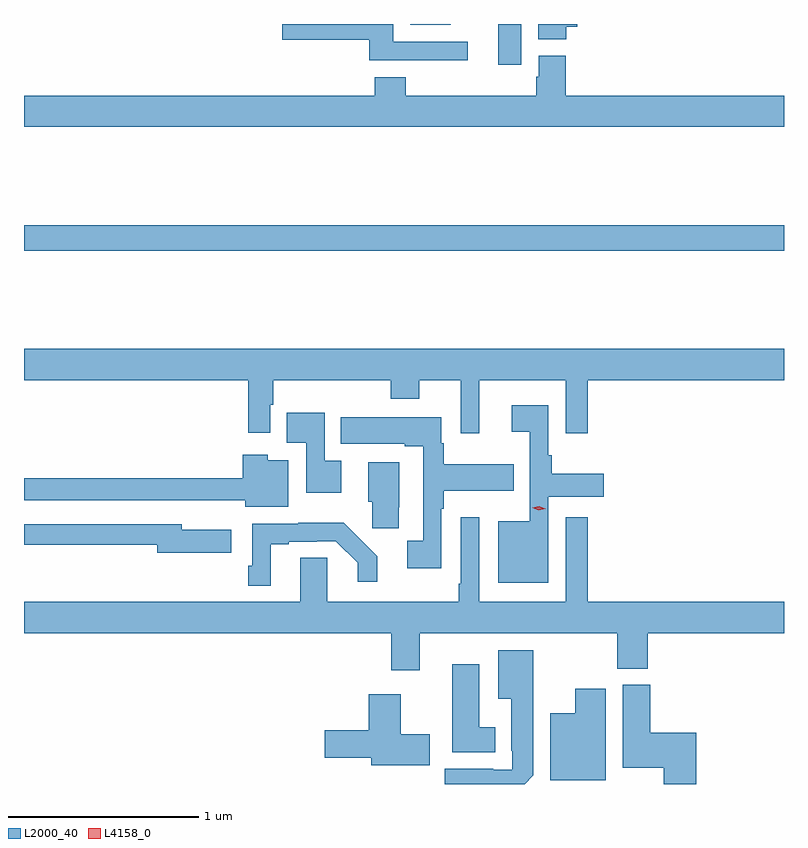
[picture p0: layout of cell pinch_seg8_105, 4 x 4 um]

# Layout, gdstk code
import gdstk
lib = gdstk.Library(unit=1e-6, precision=1e-09)
def R(c, l, rs):  # rectangles x0, y0, x1, y1
    for r in rs: c.add(gdstk.rectangle(r[:2], r[2:], *l))
def P(c, l, *ps):  # polygons
    for p in ps: c.add(gdstk.Polygon(p, *l))
L2000_40 = (2000, 40)
L4158_0 = (4158, 0)

pinch_seg8_105 = lib.new_cell('pinch_seg8_105')
R(pinch_seg8_105, L2000_40, [(1034.216,1115.848,1038.216,1115.984), (1036.712,1116.828,1036.834,1117.042), (1036.25,1117.037,1036.462,1117.042)])
P(pinch_seg8_105, L2000_40, [(1037.069,1117.028),(1037.128,1117.028),(1037.128,1117.042),(1036.922,1117.042),(1036.922,1116.961),(1037.069,1116.961)],
  [(1036.552,1116.948),(1036.159,1116.948),(1036.159,1117.042),(1035.576,1117.042),(1035.576,1116.958),(1036.034,1116.958),(1036.034,1116.851),(1036.552,1116.851)],
  [(1038.216,1116.664),(1037.066,1116.664),(1037.066,1116.876),(1036.925,1116.876),(1036.925,1116.765),(1036.913,1116.765),(1036.913,1116.664),(1036.226,1116.664),(1036.226,1116.763),(1036.061,1116.763),(1036.061,1116.664),(1034.216,1116.664),(1034.216,1116.5),(1038.216,1116.5)],
  [(1036.612,1115.168),(1037.067,1115.168),(1037.067,1114.887),(1037.183,1114.887),(1037.183,1115.168),(1038.216,1115.168),(1038.216,1115.332),(1034.216,1115.332),(1034.216,1115.168),(1035.397,1115.168),(1035.397,1114.89),(1035.513,1114.89),(1035.513,1115.037),(1035.529,1115.037),(1035.529,1115.168),(1036.145,1115.168),(1036.145,1115.069),(1036.297,1115.069),(1036.297,1115.168),(1036.515,1115.168),(1036.515,1114.887),(1036.612,1114.887)],
  [(1036.975,1114.553),(1037.266,1114.553),(1037.266,1114.675),(1036.994,1114.675),(1036.994,1114.771),(1036.974,1114.771),(1036.974,1115.035),(1036.782,1115.035),(1036.782,1114.895),(1036.878,1114.895),(1036.878,1114.426),(1036.712,1114.426),(1036.712,1114.1),(1036.975,1114.1)],
  [(1035.886,1114.744),(1035.798,1114.744),(1035.798,1114.995),(1035.598,1114.995),(1035.598,1114.838),(1035.702,1114.838),(1035.702,1114.574),(1035.886,1114.574)],
  [(1036.413,1114.49),(1036.426,1114.49),(1036.426,1114.586),(1036.793,1114.586),(1036.793,1114.726),(1036.426,1114.726),(1036.426,1114.836),(1036.413,1114.836),(1036.413,1114.972),(1035.883,1114.972),(1035.883,1114.832),(1036.22,1114.832),(1036.22,1114.82),(1036.317,1114.82),(1036.317,1114.321),(1036.233,1114.321),(1036.233,1114.178),(1036.413,1114.178)],
  [(1035.607,1114.747),(1035.498,1114.747),(1035.498,1114.774),(1035.368,1114.774),(1035.368,1114.652),(1034.216,1114.652),(1034.216,1114.536),(1035.142,1114.536),(1035.142,1114.535),(1035.38,1114.535),(1035.38,1114.502),(1035.607,1114.502)],
  [(1036.188,1114.498),(1036.192,1114.498),(1036.192,1114.735),(1036.028,1114.735),(1036.028,1114.527),(1036.048,1114.527),(1036.048,1114.389),(1036.188,1114.389)],
  [(1036.148,1113.642),(1036.3,1113.642),(1036.3,1113.836),(1037.338,1113.836),(1037.338,1113.649),(1037.498,1113.649),(1037.498,1113.836),(1038.216,1113.836),(1038.216,1114),(1037.183,1114),(1037.183,1114.447),(1037.067,1114.447),(1037.067,1114),(1036.611,1114),(1036.611,1114.447),(1036.515,1114.447),(1036.515,1114.096),(1036.503,1114.096),(1036.503,1114),(1035.811,1114),(1035.811,1114.232),(1035.671,1114.232),(1035.671,1114),(1034.216,1114),(1034.216,1113.836),(1036.148,1113.836)],
  [(1035.514,1114.305),(1035.61,1114.305),(1035.61,1114.317),(1035.758,1114.317),(1035.758,1114.32),(1035.858,1114.32),(1035.972,1114.206),(1035.972,1114.107),(1036.075,1114.107),(1036.075,1114.241),(1035.899,1114.417),(1035.66,1114.417),(1035.66,1114.413),(1035.417,1114.413),(1035.417,1114.192),(1035.397,1114.192),(1035.397,1114.085),(1035.514,1114.085)],
  [(1035.307,1114.381),(1035.046,1114.381),(1035.046,1114.41),(1034.216,1114.41),(1034.216,1114.302),(1034.918,1114.302),(1034.918,1114.259),(1035.307,1114.259)],
  [(1036.897,1113.087),(1036.897,1113.745),(1036.712,1113.745),(1036.712,1113.491),(1036.781,1113.491),(1036.781,1113.217),(1036.785,1113.217),(1036.785,1113.117),(1036.685,1113.117),(1036.685,1113.121),(1036.43,1113.121),(1036.43,1113.042),(1036.852,1113.042)],
  [(1036.696,1113.34),(1036.612,1113.34),(1036.612,1113.673),(1036.469,1113.673),(1036.469,1113.209),(1036.696,1113.209)],
  [(1037.753,1113.313),(1037.513,1113.313),(1037.513,1113.564),(1037.366,1113.564),(1037.366,1113.128),(1037.582,1113.128),(1037.582,1113.042),(1037.753,1113.042)],
  [(1037.278,1113.544),(1037.117,1113.544),(1037.117,1113.415),(1036.985,1113.415),(1036.985,1113.062),(1037.278,1113.062)],
  [(1036.351,1113.303),(1036.198,1113.303),(1036.198,1113.514),(1036.031,1113.514),(1036.031,1113.326),(1035.798,1113.326),(1035.798,1113.179),(1036.043,1113.179),(1036.043,1113.14),(1036.351,1113.14)])
P(pinch_seg8_105, L4158_0, [(1036.926,1114.484),(1036.892,1114.496),(1036.892,1114.496),(1036.892,1114.496),(1036.927,1114.504),(1036.96,1114.491),(1036.961,1114.491),(1036.96,1114.491)])

lib.write_gds('pinch_seg8_105.gds')
